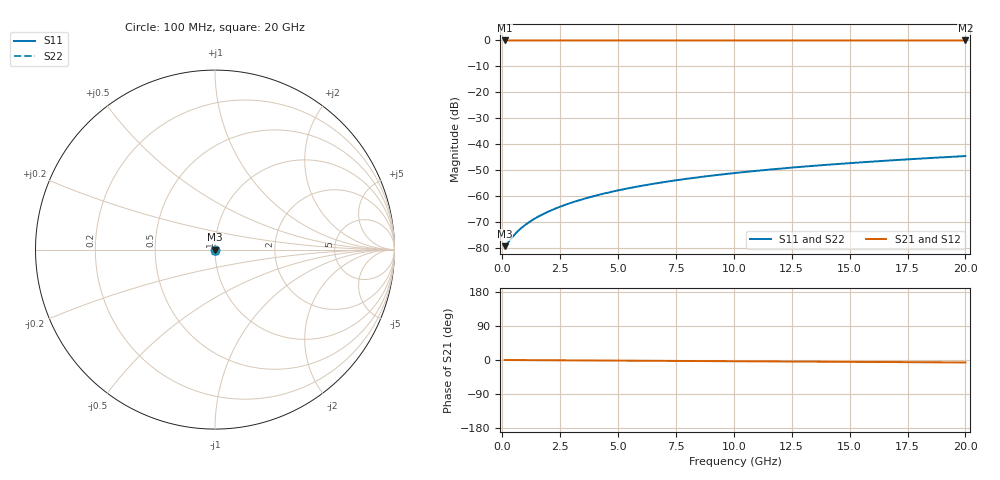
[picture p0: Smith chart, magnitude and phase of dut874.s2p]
! Touchstone file exported from HFSS 2026.1.0
!  File:  C:/ffzhzh/LocalFiles/Ansys_Project_Files/temp_train_TSV_874_1783185634_43440.aedt
!  Generated:  01:21:54 AM Jul  5, 2026
!  Design:  TSV
!  Project:  temp_train_TSV_874_1783185634_43440
! Variables:
!  h_bsmrdl = 2um
!  h_ox = 20um
!  h_rdl = 5um
!  h_sub = 64.18um
!  h_tmrdl = 5um
!  h_tsv = 64.18um
!  h_via = 3um
!  l_bsmrdl = 300um
!  l_sub = 420.38um
!  l_tmrdl = 200um
!  m_sub = 200um
!  pitch = 38.8um
!  r_tsv = 10.19um
!  s_tmrdl = 10um
!  w_bsmrdl = 18um
!  w_sub = 500um
!  w_tmrdl = 12um
!  x_tsv_center1 = 206um
!  x_tsv_center2 = 524um
!  x_tsv_center3 = 736um
!  x_tsv_center4 = 1054um
!  x_tsv_center5 = 1266um
!  x_tsv_center6 = 1584um
# GHz S MA R 50.000000
! Terminal data exported
! Port[1] = TSV1_1_T1
! Port[2] = TSV1_1_T2
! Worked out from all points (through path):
!   200 points, 100 MHz to 20 GHz, reference 50 ohm
!   highest |S21| = 0.00 dB at 100 MHz (marker M1); lowest = 0.0 dB at 20 GHz (marker M2)
!   lowest |S11| = -79.4 dB at 100 MHz (marker M3), VSWR 1.00, Z = 50 + j0.000825 ohm
!   |S11| at or under -10 dB: start of sweep to end of sweep
!   |S22| runs from -79.4 to -44.6 dB; largest |S21 - S12| = 3.2e-15
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0.1  0.0001075 4.4  0.9999 -0.0  0.9999 -0.0  0.0001075 4.4
! Gamma 0 0 0 0
! Port Impedance 50 0 50 0
0.2  0.0001187 6.7  0.9999 -0.1  0.9999 -0.1  0.0001187 6.7
0.5  0.0001734 0.6  0.9998 -0.2  0.9998 -0.2  0.0001734 0.6
0.7  0.000215 -7.9  0.9998 -0.2  0.9998 -0.2  0.000215 -7.9
0.8  0.0002361 -12.3  0.9998 -0.3  0.9998 -0.3  0.0002361 -12.3
1  0.0002786 -20.2  0.9997 -0.3  0.9997 -0.3  0.0002786 -20.2
1.2  0.0003216 -27.1  0.9997 -0.4  0.9997 -0.4  0.0003216 -27.1
1.4  0.0003654 -32.9  0.9997 -0.5  0.9997 -0.5  0.0003653 -32.9
1.8  0.0004553 -41.8  0.9997 -0.6  0.9997 -0.6  0.0004552 -41.8
2.3  0.0005724 -49.5  0.9996 -0.8  0.9996 -0.8  0.0005724 -49.5
2.9  0.0007196 -55.7  0.9996 -1.0  0.9996 -1.0  0.0007196 -55.7
3.5  0.0008733 -59.9  0.9995 -1.2  0.9995 -1.2  0.0008733 -59.9
4.2  0.00106 -63.5  0.9995 -1.4  0.9995 -1.4  0.00106 -63.5
5  0.001281 -66.6  0.9995 -1.6  0.9995 -1.6  0.001281 -66.6
5.9  0.001537 -69.3  0.9994 -1.9  0.9994 -1.9  0.001537 -69.3
6.8  0.001799 -71.5  0.9994 -2.2  0.9994 -2.2  0.001799 -71.5
8.3  0.002245 -74.4  0.9993 -2.7  0.9993 -2.7  0.002245 -74.4
10.1  0.00279 -77.1  0.9992 -3.3  0.9992 -3.3  0.00279 -77.1
11.7  0.003279 -79.1  0.9992 -3.8  0.9992 -3.8  0.003279 -79.1
13.4  0.003803 -80.8  0.9991 -4.4  0.9991 -4.4  0.003803 -80.8
16.7  0.004833 -83.6  0.999 -5.4  0.999 -5.4  0.004833 -83.6
20  0.005885 -85.7  0.9989 -6.5  0.9989 -6.5  0.005885 -85.7
